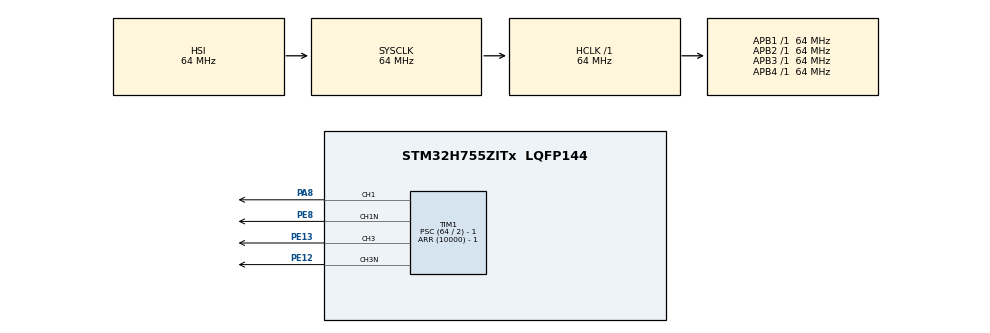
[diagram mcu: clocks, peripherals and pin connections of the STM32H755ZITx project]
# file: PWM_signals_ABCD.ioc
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CortexM4.IPs=FATFS_M4\:I,FREERTOS_M4\:I,IWDG2\:I,RCC,WWDG2\:I,DMA,BDMA,MDMA,NVIC2\:I,ETH,USART3,DEBUG,PDM2PCM_M4\:I,PWR,RESMGR_UTILITY,SYS_M4\:I,USB_DEVICE_M4\:I,USB_HOST_M4\:I,CORTEX_M4\:I,GPIO,OPENAMP_M4\:I,VREFBUF,NUCLEO-H755ZI-Q
CortexM7.IPs=FATFS_M7\:I,FREERTOS_M7\:I,IWDG1\:I,RCC\:I,WWDG1\:I,DMA\:I,BDMA\:I,MDMA\:I,NVIC1\:I,ETH\:I,USART3\:I,USB_OTG_FS\:I,SYS\:I,CORTEX_M7\:I,DEBUG\:I,PDM2PCM_M7\:I,PWR\:I,RESMGR_UTILITY\:I,USB_DEVICE_M7\:I,USB_HOST_M7\:I,GPIO\:I,OPENAMP_M7\:I,VREFBUF\:I,NUCLEO-H755ZI-Q\:I,TIM1\:I,TIM2\:I
Mcu.Family=STM32H7
Mcu.Name=STM32H755ZITx
Mcu.Package=LQFP144
Mcu.UserConstants=Period_ms-CortexM7,500
NVIC1.PriorityGroup=NVIC_PRIORITYGROUP_4
NVIC1.TIM2_IRQn=true\:0\:0\:false\:false\:true\:true\:true\:true
NVIC2.PriorityGroup=NVIC_PRIORITYGROUP_4
PA8.PinAttribute=CortexM7
PA8.Signal=S_TIM1_CH1
PE12.Mode=PWM Generation3 CH3 CH3N
PE12.PinAttribute=CortexM7
PE12.Signal=TIM1_CH3N
PE13.PinAttribute=CortexM7
PE13.Signal=S_TIM1_CH3
PE8.Mode=PWM Generation1 CH1 CH1N
PE8.PinAttribute=CortexM7
PE8.Signal=TIM1_CH1N
ProjectManager.HeapSize=M4-0x200,M7-0x200
ProjectManager.StackSize=M4-0x400,M7-0x400
ProjectManager.TargetToolchain=STM32CubeIDE
RCC.ADCFreq_Value=129000000
RCC.APB1Freq_Value=64000000
RCC.APB2Freq_Value=64000000
RCC.APB3Freq_Value=64000000
RCC.APB4Freq_Value=64000000
RCC.CortexFreq_Value=64000000
RCC.DIVM1=5
RCC.DIVN1=48
RCC.DIVQ1=5
RCC.HCLKFreq_Value=64000000
RCC.PLL2FRACN=0
RCC.PLL3FRACN=0
RCC.PLLFRACN=0
RCC.SYSCLKFreq_VALUE=64000000
RCC.SupplySource=PWR_DIRECT_SMPS_SUPPLY
RCC.USBFreq_Value=122880000
SH.S_TIM1_CH1.0=TIM1_CH1,PWM Generation1 CH1 CH1N
SH.S_TIM1_CH3.0=TIM1_CH3,PWM Generation3 CH3 CH3N
TIM1.AutoReloadPreload=TIM_AUTORELOAD_PRELOAD_ENABLE
TIM1.Channel-PWM\ Generation1\ CH1\ CH1N=TIM_CHANNEL_1
TIM1.Channel-PWM\ Generation3\ CH3\ CH3N=TIM_CHANNEL_3
TIM1.Channel-PWM\ Generation4\ No\ Output=TIM_CHANNEL_4
TIM1.CounterMode=TIM_COUNTERMODE_CENTERALIGNED1
TIM1.OCMode_PWM-PWM\ Generation3\ CH3\ CH3N=TIM_OCMODE_ASSYMETRIC_PWM1
TIM1.OCMode_PWM-PWM\ Generation4\ No\ Output=TIM_OCMODE_ASSYMETRIC_PWM1
TIM1.Period=(10000) - 1
TIM1.Prescaler=(64 / 2) - 1
TIM2.AutoReloadPreload=TIM_AUTORELOAD_PRELOAD_ENABLE
TIM2.Period=Period_ms - 1
TIM2.Prescaler=64000 - 1
VP_SYS_M4_VS_Systick.Mode=SysTick
VP_TIM1_VS_no_output4.Mode=PWM Generation4 No Output
VP_TIM2_VS_ClockSourceINT.Mode=Internal
board=NUCLEO-H755ZI-Q

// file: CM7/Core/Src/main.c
/* USER CODE BEGIN Header */
/**
 ******************************************************************************
 * @file           : main.c
 * @brief          : Main program body
 ******************************************************************************
 * @attention
 *
 * Copyright (c) 2024 STMicroelectronics.
 * All rights reserved.
 *
 * This software is licensed under terms that can be found in the LICENSE file
 * in the root directory of this software component.
 * If no LICENSE file comes with this software, it is provided AS-IS.
 *
 ******************************************************************************
 */
/* USER CODE END Header */
#include "main.h"

/* USER CODE BEGIN PD */

#ifndef HSEM_ID_0
#define HSEM_ID_0 (0U) /* HW semaphore 0*/
#endif

/* USER CODE END PD */

TIM_HandleTypeDef htim1;
TIM_HandleTypeDef htim2;

void SystemClock_Config(void);
static void MX_GPIO_Init(void);
static void MX_TIM1_Init(void);
static void MX_TIM2_Init(void);

/* USER CODE BEGIN 0 */
uint8_t flip = 0;

/* &&&&&&&&&&&&&&&&&&&&&&&& IMPORTANT &&&&&&&&&&&&&&&&&&&&&&&&
 *
 * This code is for varying the duty cycle OR the phase shift as the flashed code runs.
 * As such, you NEED to set EITHER duty_cycle_increment or phase_shift_increment to 0.
 * Setting phase_shift_increment to 0 means you're varying the duty cycle (and hence duty_cycle_increment should not equal 0) and vice versa
 *
   &&&&&&&&&&&&&&&&&&&&&&&& IMPORTANT &&&&&&&&&&&&&&&&&&&&&&&& */

uint32_t duty_cycle_current = 4000; // Current duty cycle. Value set here is initial duty cycle
uint32_t duty_cycle_increment = 0; // Duty cycle increment value. It is assumed this or phase_shift_increment value is set to 0

uint32_t phase_shift_current = 0; // Current phase shift value. Value set here is initial phase shift
uint32_t phase_shift_increment = 100; // Phase shift increment value.  It is assumed this or duty_cycle_increment value is set to 0

// Duty cycle and phase shift percentages. Phase shifts are percent of the duty cycle, not the entire PWM period
float max_duty_cycle = 0.80; //
float min_duty_cycle = 0.20; //
float max_phase_shift = 0.40; //
float min_phase_shift = 0.10; //
uint32_t tim_period = 0; //

// Callback function declaration. This is called when timer reaches its max count and resets back to 0
void HAL_TIM_PeriodElapsedCallback(TIM_HandleTypeDef *htim)
{
	if (htim -> Instance == TIM2)
	{
		if (phase_shift_increment == 0) {
			if (flip == 0) // If we are incrementing duty cycle
			{
				if (duty_cycle_current >= (max_duty_cycle*tim_period) - duty_cycle_increment) {
					duty_cycle_current = (max_duty_cycle*tim_period);
					flip = 1;
				} else {
					duty_cycle_current += duty_cycle_increment;
				}
			} else // If we are decrementing duty cycle
			{
				if (duty_cycle_current <= (min_duty_cycle*tim_period) + duty_cycle_increment)
				{
					duty_cycle_current = (min_duty_cycle*tim_period);
					flip = 0;
				} else
				{
					duty_cycle_current -= duty_cycle_increment;
				}
			}
		} else { // If varying phase shift
			if (flip == 0) //
			{
				if (phase_shift_current >= (max_phase_shift*duty_cycle_current) - phase_shift_increment) {
					phase_shift_current = (max_phase_shift*duty_cycle_current);
					flip = 1;
				} else {
					phase_shift_current += phase_shift_increment;
				}
			} else //
			{
				if (phase_shift_current <= (min_phase_shift*duty_cycle_current) + phase_shift_increment)
				{
					phase_shift_current = (min_phase_shift*duty_cycle_current);
					flip = 0;
				} else
				{
					phase_shift_current -= phase_shift_increment;
				}
			}
		}

		// Update duty cycle / phase shift registers

		// Signals A + B
		TIM1 -> CCR1 = duty_cycle_current;

		// Signals C + D
		TIM1 -> CCR3 = duty_cycle_current + 2*phase_shift_current;
		TIM1 -> CCR4 = duty_cycle_current - 2*phase_shift_current;

		// LED Toggle
		//		HAL_GPIO_TogglePin(GPIOE, GPIO_PIN_1);
	}
}

/* USER CODE END 0 */

int main(void)
{

/* USER CODE BEGIN Boot_Mode_Sequence_0 */
	int32_t timeout;
/* USER CODE END Boot_Mode_Sequence_0 */

/* USER CODE BEGIN Boot_Mode_Sequence_1 */
	/* Wait until CPU2 boots and enters in stop mode or timeout*/
	timeout = 0xFFFF;
	while((__HAL_RCC_GET_FLAG(RCC_FLAG_D2CKRDY) != RESET) && (timeout-- > 0));
	if ( timeout < 0 )
	{
		Error_Handler();
	}
/* USER CODE END Boot_Mode_Sequence_1 */
  /* MCU Configuration--------------------------------------------------------*/

  /* Reset of all peripherals, Initializes the Flash interface and the Systick. */
  HAL_Init();

  /* Configure the system clock */
  SystemClock_Config();
/* USER CODE BEGIN Boot_Mode_Sequence_2 */
	/* When system initialization is finished, Cortex-M7 will release Cortex-M4 by means of
HSEM notification */
	/*HW semaphore Clock enable*/
	__HAL_RCC_HSEM_CLK_ENABLE();
	/*Take HSEM */
	HAL_HSEM_FastTake(HSEM_ID_0);
	/*Release HSEM in order to notify the CPU2(CM4)*/
	HAL_HSEM_Release(HSEM_ID_0,0);
	/* wait until CPU2 wakes up from stop mode */
	timeout = 0xFFFF;
	while((__HAL_RCC_GET_FLAG(RCC_FLAG_D2CKRDY) == RESET) && (timeout-- > 0));
	if ( timeout < 0 )
	{
		Error_Handler();
	}
/* USER CODE END Boot_Mode_Sequence_2 */

  /* Initialize all configured peripherals */
  MX_GPIO_Init();
  MX_TIM1_Init();
  MX_TIM2_Init();
  /* USER CODE BEGIN 2 */
	tim_period = TIM1 -> ARR; // Get period of PWM signal

	// Set initial duty cycle or phase shift
	if (phase_shift_increment == 0) 						  // If we are incrementing duty cycle (NOT incrementing phase shift)
	{
		duty_cycle_current = min_duty_cycle * tim_period;     // Set initial duty cycle
	} else { 												  // If we are incrementing phase shift
		phase_shift_current = min_phase_shift * TIM1 -> CCR1; // Set initial phase shift
	}

	/* Commenting out this block of code. This would automatically determine min/max of duty cycle
	 * and phase shift depending on which one we are varying. This is INCOMPLETE. We are just
	 * hardcoding min/max for now.
	//	if (phase_shift_increment == 0) // This means we are varying duty cycle, NOT phase shift
	//	{
	//		if (duty_cycle_current < 2 * phase_shift_current) // Check if initial duty cycle is too small
	//		{
	//			duty_cycle_current = 2 * phase_shift_current; // Update initial duty cycle to minimum
	//
	//			max_duty_cycle = TIM1 -> ARR - duty_cycle_increment; //
	//			min_duty_cycle = 2 * phase_shift_current; //
	//		}
	//	} else // Case where we are varying phase shift and NOT duty cycle
	//	{
	//		if (phase_shift_current > duty_cycle_current / 2) // Check if initial phase_shift is too small
	//		{
	//			phase_shift_current = duty_cycle_current / 2; // Update initial phase_shift to minimum
	//			min_phase_shift = 0; //
	//			max_phase_shift = duty_cycle_current / 2; //
	//		}
	//	}
	 *
	 */

	// Enable timer 2
	HAL_TIM_Base_Start_IT(&htim2);

	// Enable timer 1 channel 1 and 1N
	HAL_TIM_PWM_Start(&htim1, TIM_CHANNEL_1);
	HAL_TIMEx_PWMN_Start(&htim1, TIM_CHANNEL_1);

	// Enable timer 1 channel 2 and 2N
	//  HAL_TIM_PWM_Start(&htim1, TIM_CHANNEL_2);
	//  HAL_TIMEx_PWMN_Start(&htim1, TIM_CHANNEL_2);

	// Enable timer 1 channel 3 and 3N
	HAL_TIM_PWM_Start(&htim1, TIM_CHANNEL_3);
	HAL_TIMEx_PWMN_Start(&htim1, TIM_CHANNEL_3);

	// Enable timer 1 channel 4 and 4N
	//  HAL_TIM_PWM_Start(&htim1, TIM_CHANNEL_4);
	//  HAL_TIMEx_PWMN_Start(&htim1, TIM_CHANNEL_4);

  /* USER CODE END 2 */

  /* Infinite loop */
	while (1)
	{

	}
}

void SystemClock_Config(void)
{
  RCC_OscInitTypeDef RCC_OscInitStruct = {0};
  RCC_ClkInitTypeDef RCC_ClkInitStruct = {0};

  /** Supply configuration update enable
  */
  HAL_PWREx_ConfigSupply(PWR_DIRECT_SMPS_SUPPLY);

  /** Configure the main internal regulator output voltage
  */
  __HAL_PWR_VOLTAGESCALING_CONFIG(PWR_REGULATOR_VOLTAGE_SCALE3);

  while(!__HAL_PWR_GET_FLAG(PWR_FLAG_VOSRDY)) {}

  /** Initializes the RCC Oscillators according to the specified parameters
  * in the RCC_OscInitTypeDef structure.
  */
  RCC_OscInitStruct.OscillatorType = RCC_OSCILLATORTYPE_HSI;
  RCC_OscInitStruct.HSIState = RCC_HSI_DIV1;
  RCC_OscInitStruct.HSICalibrationValue = RCC_HSICALIBRATION_DEFAULT;
  RCC_OscInitStruct.PLL.PLLState = RCC_PLL_NONE;
  if (HAL_RCC_OscConfig(&RCC_OscInitStruct) != HAL_OK)
  {
    Error_Handler();
  }

  /** Initializes the CPU, AHB and APB buses clocks
  */
  RCC_ClkInitStruct.ClockType = RCC_CLOCKTYPE_HCLK|RCC_CLOCKTYPE_SYSCLK
                              |RCC_CLOCKTYPE_PCLK1|RCC_CLOCKTYPE_PCLK2
                              |RCC_CLOCKTYPE_D3PCLK1|RCC_CLOCKTYPE_D1PCLK1;
  RCC_ClkInitStruct.SYSCLKSource = RCC_SYSCLKSOURCE_HSI;
  RCC_ClkInitStruct.SYSCLKDivider = RCC_SYSCLK_DIV1;
  RCC_ClkInitStruct.AHBCLKDivider = RCC_HCLK_DIV1;
  RCC_ClkInitStruct.APB3CLKDivider = RCC_APB3_DIV1;
  RCC_ClkInitStruct.APB1CLKDivider = RCC_APB1_DIV1;
  RCC_ClkInitStruct.APB2CLKDivider = RCC_APB2_DIV1;
  RCC_ClkInitStruct.APB4CLKDivider = RCC_APB4_DIV1;

  if (HAL_RCC_ClockConfig(&RCC_ClkInitStruct, FLASH_LATENCY_1) != HAL_OK)
  {
    Error_Handler();
  }
}

static void MX_TIM1_Init(void)
{

  TIM_MasterConfigTypeDef sMasterConfig = {0};
  TIM_OC_InitTypeDef sConfigOC = {0};
  TIM_BreakDeadTimeConfigTypeDef sBreakDeadTimeConfig = {0};

  htim1.Instance = TIM1;
  htim1.Init.Prescaler = (64 / 2) - 1;
  htim1.Init.CounterMode = TIM_COUNTERMODE_CENTERALIGNED1;
  htim1.Init.Period = (10000) - 1;
  htim1.Init.ClockDivision = TIM_CLOCKDIVISION_DIV1;
  htim1.Init.RepetitionCounter = 0;
  htim1.Init.AutoReloadPreload = TIM_AUTORELOAD_PRELOAD_ENABLE;
  if (HAL_TIM_PWM_Init(&htim1) != HAL_OK)
  {
    Error_Handler();
  }
  sMasterConfig.MasterOutputTrigger = TIM_TRGO_RESET;
  sMasterConfig.MasterOutputTrigger2 = TIM_TRGO2_RESET;
  sMasterConfig.MasterSlaveMode = TIM_MASTERSLAVEMODE_DISABLE;
  if (HAL_TIMEx_MasterConfigSynchronization(&htim1, &sMasterConfig) != HAL_OK)
  {
    Error_Handler();
  }
  sConfigOC.OCMode = TIM_OCMODE_PWM1;
  sConfigOC.Pulse = 0;
  sConfigOC.OCPolarity = TIM_OCPOLARITY_HIGH;
  sConfigOC.OCNPolarity = TIM_OCNPOLARITY_HIGH;
  sConfigOC.OCFastMode = TIM_OCFAST_DISABLE;
  sConfigOC.OCIdleState = TIM_OCIDLESTATE_RESET;
  sConfigOC.OCNIdleState = TIM_OCNIDLESTATE_RESET;
  if (HAL_TIM_PWM_ConfigChannel(&htim1, &sConfigOC, TIM_CHANNEL_1) != HAL_OK)
  {
    Error_Handler();
  }
  sConfigOC.OCMode = TIM_OCMODE_ASSYMETRIC_PWM1;
  if (HAL_TIM_PWM_ConfigChannel(&htim1, &sConfigOC, TIM_CHANNEL_3) != HAL_OK)
  {
    Error_Handler();
  }
  if (HAL_TIM_PWM_ConfigChannel(&htim1, &sConfigOC, TIM_CHANNEL_4) != HAL_OK)
  {
    Error_Handler();
  }
  sBreakDeadTimeConfig.OffStateRunMode = TIM_OSSR_DISABLE;
  sBreakDeadTimeConfig.OffStateIDLEMode = TIM_OSSI_DISABLE;
  sBreakDeadTimeConfig.LockLevel = TIM_LOCKLEVEL_OFF;
  sBreakDeadTimeConfig.DeadTime = 0;
  sBreakDeadTimeConfig.BreakState = TIM_BREAK_DISABLE;
  sBreakDeadTimeConfig.BreakPolarity = TIM_BREAKPOLARITY_HIGH;
  sBreakDeadTimeConfig.BreakFilter = 0;
  sBreakDeadTimeConfig.Break2State = TIM_BREAK2_DISABLE;
  sBreakDeadTimeConfig.Break2Polarity = TIM_BREAK2POLARITY_HIGH;
  sBreakDeadTimeConfig.Break2Filter = 0;
  sBreakDeadTimeConfig.AutomaticOutput = TIM_AUTOMATICOUTPUT_DISABLE;
  if (HAL_TIMEx_ConfigBreakDeadTime(&htim1, &sBreakDeadTimeConfig) != HAL_OK)
  {
    Error_Handler();
  }
  HAL_TIM_MspPostInit(&htim1);

}

static void MX_TIM2_Init(void)
{

  TIM_ClockConfigTypeDef sClockSourceConfig = {0};
  TIM_MasterConfigTypeDef sMasterConfig = {0};

  htim2.Instance = TIM2;
  htim2.Init.Prescaler = 64000 - 1;
  htim2.Init.CounterMode = TIM_COUNTERMODE_UP;
  htim2.Init.Period = Period_ms - 1;
  htim2.Init.ClockDivision = TIM_CLOCKDIVISION_DIV1;
  htim2.Init.AutoReloadPreload = TIM_AUTORELOAD_PRELOAD_ENABLE;
  if (HAL_TIM_Base_Init(&htim2) != HAL_OK)
  {
    Error_Handler();
  }
  sClockSourceConfig.ClockSource = TIM_CLOCKSOURCE_INTERNAL;
  if (HAL_TIM_ConfigClockSource(&htim2, &sClockSourceConfig) != HAL_OK)
  {
    Error_Handler();
  }
  sMasterConfig.MasterOutputTrigger = TIM_TRGO_RESET;
  sMasterConfig.MasterSlaveMode = TIM_MASTERSLAVEMODE_DISABLE;
  if (HAL_TIMEx_MasterConfigSynchronization(&htim2, &sMasterConfig) != HAL_OK)
  {
    Error_Handler();
  }

}

static void MX_GPIO_Init(void)
{

  /* GPIO Ports Clock Enable */
  __HAL_RCC_GPIOE_CLK_ENABLE();
  __HAL_RCC_GPIOA_CLK_ENABLE();

}

void Error_Handler(void)
{
	__disable_irq();
	while (1)
	{
	}
}
